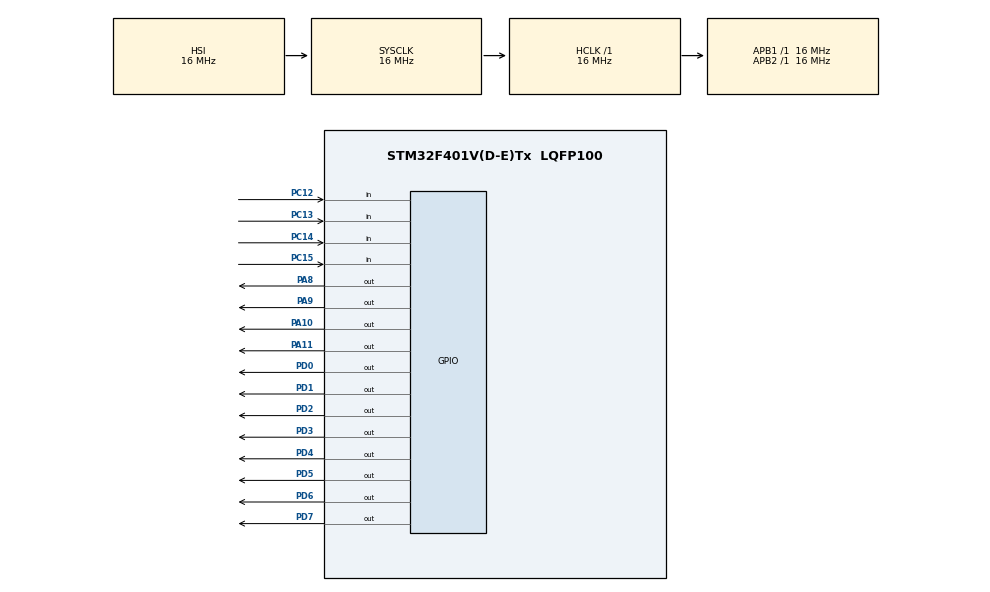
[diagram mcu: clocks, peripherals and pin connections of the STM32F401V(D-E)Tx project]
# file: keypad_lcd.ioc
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Mcu.Family=STM32F4
Mcu.Name=STM32F401V(D-E)Tx
Mcu.Package=LQFP100
NVIC.PriorityGroup=NVIC_PRIORITYGROUP_4
PA10.Signal=GPIO_Output
PA11.Signal=GPIO_Output
PA13.Mode=Serial_Wire
PA13.Signal=SYS_JTMS-SWDIO
PA14.Mode=Serial_Wire
PA14.Signal=SYS_JTCK-SWCLK
PA8.Signal=GPIO_Output
PA9.Signal=GPIO_Output
PC12.Signal=GPIO_Input
PC13-ANTI_TAMP.Signal=GPIO_Input
PC14-OSC32_IN.Signal=GPIO_Input
PC15-OSC32_OUT.Signal=GPIO_Input
PD0.Signal=GPIO_Output
PD1.Signal=GPIO_Output
PD2.Signal=GPIO_Output
PD3.Signal=GPIO_Output
PD4.Signal=GPIO_Output
PD5.Signal=GPIO_Output
PD6.Signal=GPIO_Output
PD7.Signal=GPIO_Output
PH0\ -\ OSC_IN.Mode=HSE-External-Oscillator
PH0\ -\ OSC_IN.Signal=RCC_OSC_IN
PH1\ -\ OSC_OUT.Mode=HSE-External-Oscillator
PH1\ -\ OSC_OUT.Signal=RCC_OSC_OUT
ProjectManager.HeapSize=0x200
ProjectManager.StackSize=0x400
ProjectManager.TargetToolchain=MDK-ARM V5.27
RCC.AHBFreq_Value=16000000
RCC.APB1Freq_Value=16000000
RCC.APB2Freq_Value=16000000
RCC.CortexFreq_Value=16000000
RCC.HSE_VALUE=25000000
RCC.HSI_VALUE=16000000
RCC.LSE_VALUE=32768
RCC.SYSCLKFreq_VALUE=16000000
RCC.VCOOutputFreq_Value=192000000
board=custom

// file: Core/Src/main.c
/* USER CODE BEGIN Header */
/**
  ******************************************************************************
  * @file           : main.c
  * @brief          : Main program body
  ******************************************************************************
  * @attention
  *
  * <h2><center>&copy; Copyright (c) 2021 STMicroelectronics.
  * All rights reserved.</center></h2>
  *
  * This software component is licensed by ST under BSD 3-Clause license,
  * the "License"; You may not use this file except in compliance with the
  * License. You may obtain a copy of the License at:
  *                        opensource.org/licenses/BSD-3-Clause
  *
  ******************************************************************************
  */
/* USER CODE END Header */
#include "main.h"
#include "lcd_character.h"
#include "stdio.h"
#include "math.h"
#include "stdbool.h"

/* USER CODE BEGIN Includes */
#define R1_PORT GPIOA
#define	R1_PIN GPIO_PIN_11

#define R2_PORT GPIOA
#define	R2_PIN GPIO_PIN_10

#define R3_PORT GPIOA
#define	R3_PIN GPIO_PIN_9

#define R4_PORT GPIOA
#define	R4_PIN GPIO_PIN_8

#define C1_PORT GPIOC
#define	C1_PIN GPIO_PIN_15

#define C2_PORT GPIOC
#define	C2_PIN GPIO_PIN_14

#define C3_PORT GPIOC
#define	C3_PIN GPIO_PIN_13

#define C4_PORT GPIOC
#define	C4_PIN GPIO_PIN_12

/* USER CODE END Includes */

/* USER CODE BEGIN PTD */
void reverse(char* str, int len)
{
    int i = 0, j = len - 1, temp;
    while (i < j)
    {
        temp = str[i];
        str[i] = str[j];
        str[j] = temp;
        i++;
        j--;
    }
}
int intToStr(int x, char str[], int d)
{
    int i = 0;
    while (x)
    {
        str[i++] = (x % 10) + '0';

        x = x / 10;
    }
    // If number of digits required is more, then
    // add 0s at the beginning
    while (i < d)
        str[i++] = '0';
    reverse(str, i);
    str[i] = '\0';
    return i;
}
void ftoa(float n, char* res, int afterpoint)
{
    // Extract integer part
    int ipart = (int)n;

    // Extract floating part
    float fpart = n - (float)ipart;

    // convert integer part to string
    int i = intToStr(ipart, res, 0);//0
    // check for display option after point
    if (afterpoint != 0)
    {
        res[i] = '.'; // add dot

        // Get the value of fraction part upto given no.
        // of points after dot. The third parameter
        // is needed to handle cases like 233.007

        fpart = fpart * pow(10, afterpoint);
        intToStr((int)fpart, res + i + 1, afterpoint);
    }
}

/* USER CODE END PTD */

void SystemClock_Config(void);
static void MX_GPIO_Init(void);

/* USER CODE BEGIN 0 */
char buff[16];
char read_keypad(void)
{
		HAL_GPIO_WritePin(R1_PORT,R1_PIN, GPIO_PIN_RESET);
		HAL_GPIO_WritePin(R2_PORT,R2_PIN, GPIO_PIN_SET);
		HAL_GPIO_WritePin(R3_PORT,R3_PIN, GPIO_PIN_SET);
		HAL_GPIO_WritePin(R4_PORT,R4_PIN, GPIO_PIN_SET);

		if(HAL_GPIO_ReadPin(C1_PORT,C1_PIN)==GPIO_PIN_RESET)
		{
			while(HAL_GPIO_ReadPin(C1_PORT,C1_PIN)==GPIO_PIN_RESET)
			return '7';
		}

		if(HAL_GPIO_ReadPin(C2_PORT,C2_PIN)==GPIO_PIN_RESET)
		{
			while(HAL_GPIO_ReadPin(C2_PORT,C2_PIN)==GPIO_PIN_RESET)
			return '8';
		}

		if(HAL_GPIO_ReadPin(C3_PORT,C3_PIN)==GPIO_PIN_RESET)
		{
			while(HAL_GPIO_ReadPin(C3_PORT,C3_PIN)==GPIO_PIN_RESET)
			return '9';
		}

		if(HAL_GPIO_ReadPin(C4_PORT,C4_PIN)==GPIO_PIN_RESET)
		{
			while(HAL_GPIO_ReadPin(C4_PORT,C4_PIN)==GPIO_PIN_RESET)
			return '/';
		}

		HAL_GPIO_WritePin(R1_PORT,R1_PIN, GPIO_PIN_SET);
		HAL_GPIO_WritePin(R2_PORT,R2_PIN, GPIO_PIN_RESET);
		HAL_GPIO_WritePin(R3_PORT,R3_PIN, GPIO_PIN_SET);
		HAL_GPIO_WritePin(R4_PORT,R4_PIN, GPIO_PIN_SET);

		if(HAL_GPIO_ReadPin(C1_PORT,C1_PIN)==GPIO_PIN_RESET)
		{
			while(HAL_GPIO_ReadPin(C1_PORT,C1_PIN)==GPIO_PIN_RESET)
			return '4';
		}

		if(HAL_GPIO_ReadPin(C2_PORT,C2_PIN)==GPIO_PIN_RESET)
		{
			while(HAL_GPIO_ReadPin(C2_PORT,C2_PIN)==GPIO_PIN_RESET)
			return '5';
		}

		if(HAL_GPIO_ReadPin(C3_PORT,C3_PIN)==GPIO_PIN_RESET)
		{
			while(HAL_GPIO_ReadPin(C3_PORT,C3_PIN)==GPIO_PIN_RESET)
			return '6';
		}

		if(HAL_GPIO_ReadPin(C4_PORT,C4_PIN)==GPIO_PIN_RESET)
		{
			while(HAL_GPIO_ReadPin(C4_PORT,C4_PIN)==GPIO_PIN_RESET)
			return 'x';
		}

		HAL_GPIO_WritePin(R1_PORT,R1_PIN, GPIO_PIN_SET);
		HAL_GPIO_WritePin(R2_PORT,R2_PIN, GPIO_PIN_SET);
		HAL_GPIO_WritePin(R3_PORT,R3_PIN, GPIO_PIN_RESET);
		HAL_GPIO_WritePin(R4_PORT,R4_PIN, GPIO_PIN_SET);

		if(HAL_GPIO_ReadPin(C1_PORT,C1_PIN)==GPIO_PIN_RESET)
		{
			while(HAL_GPIO_ReadPin(C1_PORT,C1_PIN)==GPIO_PIN_RESET)
			return '1';
		}

		if(HAL_GPIO_ReadPin(C2_PORT,C2_PIN)==GPIO_PIN_RESET)
		{
			while(HAL_GPIO_ReadPin(C2_PORT,C2_PIN)==GPIO_PIN_RESET)
			return '2';
		}

		if(HAL_GPIO_ReadPin(C3_PORT,C3_PIN)==GPIO_PIN_RESET)
		{
			while(HAL_GPIO_ReadPin(C3_PORT,C3_PIN)==GPIO_PIN_RESET)
			return '3';
		}

		if(HAL_GPIO_ReadPin(C4_PORT,C4_PIN)==GPIO_PIN_RESET)
		{
			while(HAL_GPIO_ReadPin(C4_PORT,C4_PIN)==GPIO_PIN_RESET)
			return '-';
		}
		HAL_GPIO_WritePin(R1_PORT,R1_PIN, GPIO_PIN_SET);
		HAL_GPIO_WritePin(R2_PORT,R2_PIN, GPIO_PIN_SET);
		HAL_GPIO_WritePin(R3_PORT,R3_PIN, GPIO_PIN_SET);
		HAL_GPIO_WritePin(R4_PORT,R4_PIN, GPIO_PIN_RESET);

		if(HAL_GPIO_ReadPin(C1_PORT,C1_PIN)==GPIO_PIN_RESET)
		{
			while(HAL_GPIO_ReadPin(C1_PORT,C1_PIN)==GPIO_PIN_RESET)
			return '*';
		}

		if(HAL_GPIO_ReadPin(C2_PORT,C2_PIN)==GPIO_PIN_RESET)
		{
			while(HAL_GPIO_ReadPin(C2_PORT,C2_PIN)==GPIO_PIN_RESET)
			return '0';
		}

		if(HAL_GPIO_ReadPin(C3_PORT,C3_PIN)==GPIO_PIN_RESET)
		{
			while(HAL_GPIO_ReadPin(C3_PORT,C3_PIN)==GPIO_PIN_RESET)
			return '=';
		}

		if(HAL_GPIO_ReadPin(C4_PORT,C4_PIN)==GPIO_PIN_RESET)
		{
			while(HAL_GPIO_ReadPin(C4_PORT,C4_PIN)==GPIO_PIN_RESET)
			return '+';
		}

}

uint8_t key;
/* USER CODE END 0 */

int main(void)
{

  /* MCU Configuration--------------------------------------------------------*/

  /* Reset of all peripherals, Initializes the Flash interface and the Systick. */
  HAL_Init();

  /* Configure the system clock */
  SystemClock_Config();

  /* Initialize all configured peripherals */
  MX_GPIO_Init();
   lcd_init();

  /* USER CODE END 2 */

  /* Infinite loop */
  /* USER CODE BEGIN WHILE */
  while (1)
  {
		key = read_keypad();
		lcd_gotoxy(0,0);
		lcd_puts("Enter the key");

		if(key!=0x01)
		{
				sprintf(buff,"key = %c",key);
				lcd_gotoxy(0,1);
				lcd_puts(buff);
		}
		HAL_Delay(3);
  }

}

void SystemClock_Config(void)
{
  RCC_OscInitTypeDef RCC_OscInitStruct = {0};
  RCC_ClkInitTypeDef RCC_ClkInitStruct = {0};

  /** Configure the main internal regulator output voltage
  */
  __HAL_RCC_PWR_CLK_ENABLE();
  __HAL_PWR_VOLTAGESCALING_CONFIG(PWR_REGULATOR_VOLTAGE_SCALE2);
  /** Initializes the RCC Oscillators according to the specified parameters
  * in the RCC_OscInitTypeDef structure.
  */
  RCC_OscInitStruct.OscillatorType = RCC_OSCILLATORTYPE_HSI;
  RCC_OscInitStruct.HSIState = RCC_HSI_ON;
  RCC_OscInitStruct.HSICalibrationValue = RCC_HSICALIBRATION_DEFAULT;
  RCC_OscInitStruct.PLL.PLLState = RCC_PLL_NONE;
  if (HAL_RCC_OscConfig(&RCC_OscInitStruct) != HAL_OK)
  {
    Error_Handler();
  }
  /** Initializes the CPU, AHB and APB buses clocks
  */
  RCC_ClkInitStruct.ClockType = RCC_CLOCKTYPE_HCLK|RCC_CLOCKTYPE_SYSCLK
                              |RCC_CLOCKTYPE_PCLK1|RCC_CLOCKTYPE_PCLK2;
  RCC_ClkInitStruct.SYSCLKSource = RCC_SYSCLKSOURCE_HSI;
  RCC_ClkInitStruct.AHBCLKDivider = RCC_SYSCLK_DIV1;
  RCC_ClkInitStruct.APB1CLKDivider = RCC_HCLK_DIV1;
  RCC_ClkInitStruct.APB2CLKDivider = RCC_HCLK_DIV1;

  if (HAL_RCC_ClockConfig(&RCC_ClkInitStruct, FLASH_LATENCY_0) != HAL_OK)
  {
    Error_Handler();
  }
}

static void MX_GPIO_Init(void)
{
  GPIO_InitTypeDef GPIO_InitStruct = {0};

  /* GPIO Ports Clock Enable */
  __HAL_RCC_GPIOC_CLK_ENABLE();
  __HAL_RCC_GPIOH_CLK_ENABLE();
  __HAL_RCC_GPIOA_CLK_ENABLE();
  __HAL_RCC_GPIOD_CLK_ENABLE();

  /*Configure GPIO pin Output Level */
  HAL_GPIO_WritePin(GPIOA, GPIO_PIN_8|GPIO_PIN_9|GPIO_PIN_10|GPIO_PIN_11, GPIO_PIN_RESET);

  /*Configure GPIO pin Output Level */
  HAL_GPIO_WritePin(GPIOD, GPIO_PIN_0|GPIO_PIN_1|GPIO_PIN_2|GPIO_PIN_3
                          |GPIO_PIN_4|GPIO_PIN_5|GPIO_PIN_6|GPIO_PIN_7, GPIO_PIN_RESET);

  /*Configure GPIO pins : PC13 PC14 PC15 PC12 */
  GPIO_InitStruct.Pin = GPIO_PIN_13|GPIO_PIN_14|GPIO_PIN_15|GPIO_PIN_12;
  GPIO_InitStruct.Mode = GPIO_MODE_INPUT;
  GPIO_InitStruct.Pull = GPIO_NOPULL;
  HAL_GPIO_Init(GPIOC, &GPIO_InitStruct);

  /*Configure GPIO pins : PA8 PA9 PA10 PA11 */
  GPIO_InitStruct.Pin = GPIO_PIN_8|GPIO_PIN_9|GPIO_PIN_10|GPIO_PIN_11;
  GPIO_InitStruct.Mode = GPIO_MODE_OUTPUT_PP;
  GPIO_InitStruct.Pull = GPIO_NOPULL;
  GPIO_InitStruct.Speed = GPIO_SPEED_FREQ_LOW;
  HAL_GPIO_Init(GPIOA, &GPIO_InitStruct);

  /*Configure GPIO pins : PD0 PD1 PD2 PD3
                           PD4 PD5 PD6 PD7 */
  GPIO_InitStruct.Pin = GPIO_PIN_0|GPIO_PIN_1|GPIO_PIN_2|GPIO_PIN_3
                          |GPIO_PIN_4|GPIO_PIN_5|GPIO_PIN_6|GPIO_PIN_7;
  GPIO_InitStruct.Mode = GPIO_MODE_OUTPUT_PP;
  GPIO_InitStruct.Pull = GPIO_NOPULL;
  GPIO_InitStruct.Speed = GPIO_SPEED_FREQ_LOW;
  HAL_GPIO_Init(GPIOD, &GPIO_InitStruct);

}

void Error_Handler(void)
{
  __disable_irq();
  while (1)
  {
  }
}

/************************ (C) COPYRIGHT STMicroelectronics *****END OF FILE****/
